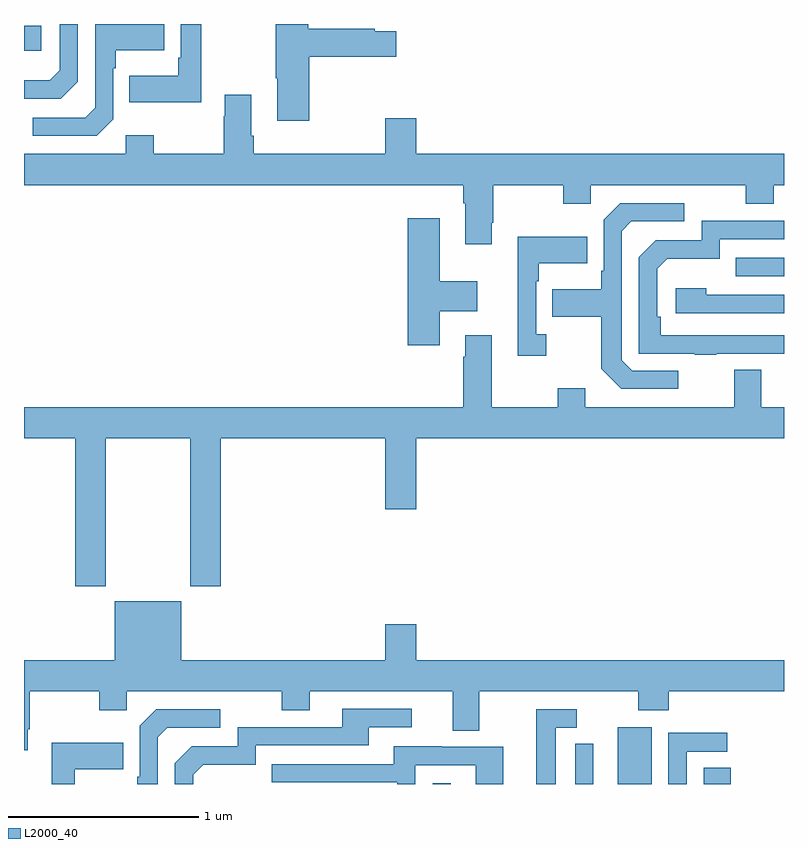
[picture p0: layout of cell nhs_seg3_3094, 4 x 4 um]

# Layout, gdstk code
import gdstk
lib = gdstk.Library(unit=1e-6, precision=1e-09)
def R(c, l, rs):  # rectangles x0, y0, x1, y1
    for r in rs: c.add(gdstk.rectangle(r[:2], r[2:], *l))
def P(c, l, *ps):  # polygons
    for p in ps: c.add(gdstk.Polygon(p, *l))
L2000_40 = (2000, 40)

nhs_seg3_3094 = lib.new_cell('nhs_seg3_3094')
R(nhs_seg3_3094, L2000_40, [(273.15,728.4,273.247,728.404), (274.124,728.4,274.303,728.698), (274.577,728.4,274.721,728.486), (274.747,731.073,275,731.169), (271,732.26,271.09,732.39)])
P(nhs_seg3_3094, L2000_40, [(271.284,732.096),(271.284,732.4),(271.188,732.4),(271.188,732.156),(271.135,732.103),(271,732.103),(271,732.006),(271.194,732.006)],
  [(271.933,732.4),(271.824,732.4),(271.824,732.223),(271.812,732.223),(271.812,732.127),(271.555,732.127),(271.555,731.987),(271.933,731.987)],
  [(271.47,731.898),(271.47,732.167),(271.483,732.167),(271.483,732.263),(271.739,732.263),(271.739,732.4),(271.374,732.4),(271.374,731.958),(271.323,731.907),(271.047,731.907),(271.047,731.811),(271.383,731.811)],
  [(272.501,732.227),(272.959,732.227),(272.959,732.361),(272.846,732.361),(272.846,732.374),(272.496,732.374),(272.496,732.4),(272.326,732.4),(272.326,732.115),(272.333,732.115),(272.333,731.892),(272.501,731.892)],
  [(272.9,731.905),(272.9,731.716),(272.21,731.716),(272.21,731.812),(272.197,731.812),(272.197,732.028),(272.057,732.028),(272.057,731.915),(272.05,731.915),(272.05,731.716),(271.683,731.716),(271.683,731.815),(271.536,731.815),(271.536,731.716),(271,731.716),(271,731.552),(273.311,731.552),(273.311,731.456),(273.323,731.456),(273.323,731.241),(273.463,731.241),(273.463,731.353),(273.471,731.353),(273.471,731.552),(273.838,731.552),(273.838,731.453),(273.984,731.453),(273.984,731.552),(274.798,731.552),(274.798,731.453),(274.945,731.453),(274.945,731.552),(275,731.552),(275,731.716),(273.064,731.716),(273.064,731.905)],
  [(274.444,730.575),(274.2,730.575),(274.146,730.629),(274.146,731.31),(274.197,731.361),(274.474,731.361),(274.474,731.457),(274.137,731.457),(274.05,731.37),(274.05,731.101),(274.038,731.101),(274.038,731.005),(273.781,731.005),(273.781,730.858),(274.038,730.858),(274.038,730.585),(274.143,730.479),(274.444,730.479)],
  [(273.187,730.889),(273.385,730.889),(273.385,731.047),(273.187,731.047),(273.187,731.377),(273.02,731.377),(273.02,730.71),(273.187,730.71)],
  [(274.643,730.665),(275,730.665),(275,730.761),(274.352,730.761),(274.352,730.858),(274.332,730.858),(274.332,731.112),(274.385,731.165),(274.662,731.165),(274.662,731.268),(275,731.268),(275,731.364),(274.566,731.364),(274.566,731.262),(274.326,731.262),(274.236,731.172),(274.236,730.665),(274.531,730.665),(274.531,730.66),(274.643,730.66)],
  [(273.748,730.766),(273.696,730.766),(273.696,731.045),(273.709,731.045),(273.709,731.141),(273.965,731.141),(273.965,731.281),(273.599,731.281),(273.599,730.653),(273.748,730.653)],
  [(275,730.974),(274.592,730.974),(274.592,731.008),(274.431,731.008),(274.431,730.878),(275,730.878)],
  [(271.431,730.22),(271.876,730.22),(271.876,729.441),(272.036,729.441),(272.036,730.22),(272.9,730.22),(272.9,729.846),(273.064,729.846),(273.064,730.22),(275,730.22),(275,730.384),(274.879,730.384),(274.879,730.579),(274.739,730.579),(274.739,730.384),(273.955,730.384),(273.955,730.483),(273.808,730.483),(273.808,730.384),(273.463,730.384),(273.463,730.762),(273.323,730.762),(273.323,730.649),(273.311,730.649),(273.311,730.384),(271,730.384),(271,730.22),(271.271,730.22),(271.271,729.441),(271.431,729.441)],
  [(271.021,728.689),(271.029,728.689),(271.029,728.888),(271.396,728.888),(271.396,728.789),(271.542,728.789),(271.542,728.888),(272.356,728.888),(272.356,728.789),(272.503,728.789),(272.503,728.888),(273.257,728.888),(273.257,728.68),(273.397,728.68),(273.397,728.888),(274.234,728.888),(274.234,728.789),(274.394,728.789),(274.394,728.888),(275,728.888),(275,729.052),(273.064,729.052),(273.064,729.241),(272.9,729.241),(272.9,729.052),(271.828,729.052),(271.828,729.361),(271.478,729.361),(271.478,729.052),(271,729.052),(271,728.577),(271.021,728.577)],
  [(271.89,728.448),(271.943,728.501),(272.22,728.501),(272.22,728.604),(272.815,728.604),(272.815,728.7),(273.04,728.7),(273.04,728.796),(272.675,728.796),(272.675,728.7),(272.124,728.7),(272.124,728.598),(271.884,728.598),(271.794,728.508),(271.794,728.4),(271.89,728.4)],
  [(273.799,728.697),(273.91,728.697),(273.91,728.793),(273.695,728.793),(273.695,728.4),(273.799,728.4)],
  [(271.704,728.646),(271.755,728.697),(272.032,728.697),(272.032,728.793),(271.695,728.793),(271.608,728.706),(271.608,728.437),(271.596,728.437),(271.596,728.4),(271.704,728.4)],
  [(274.488,728.571),(274.702,728.571),(274.702,728.67),(274.392,728.67),(274.392,728.4),(274.488,728.4)],
  [(271.267,728.477),(271.523,728.477),(271.523,728.617),(271.146,728.617),(271.146,728.4),(271.267,728.4)],
  [(273.995,728.458),(273.996,728.458),(273.996,728.612),(273.9,728.612),(273.9,728.4),(273.995,728.4)],
  [(273.06,728.499),(273.378,728.499),(273.378,728.4),(273.523,728.4),(273.523,728.595),(273.199,728.595),(273.199,728.599),(272.945,728.599),(272.945,728.505),(272.305,728.505),(272.305,728.409),(272.964,728.409),(272.964,728.4),(273.06,728.4)])

lib.write_gds('nhs_seg3_3094.gds')
